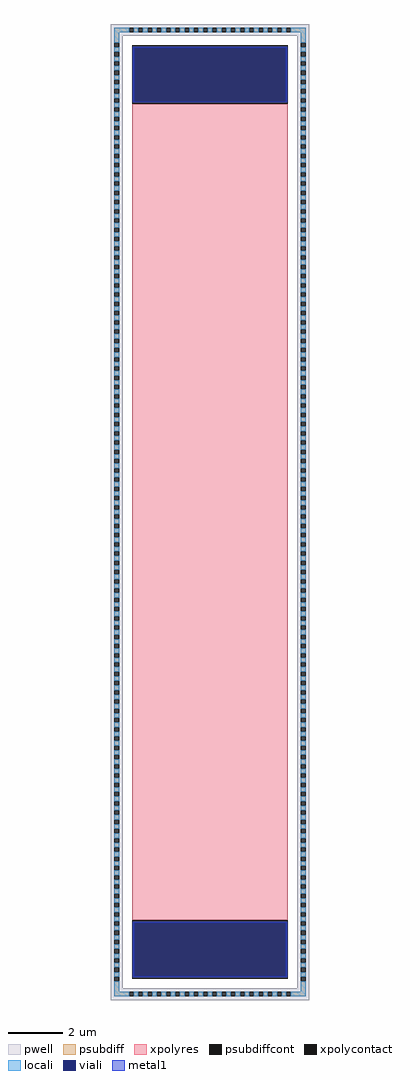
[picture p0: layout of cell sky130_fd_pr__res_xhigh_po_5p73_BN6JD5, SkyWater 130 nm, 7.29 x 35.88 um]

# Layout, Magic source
magic
tech sky130B
magscale 1 2
<< pwell >>
rect -729 3502 729 3588
rect -729 -3502 -643 3502
rect 643 -3502 729 3502
rect -729 -3588 729 -3502
<< psubdiff >>
rect -703 3528 -595 3562
rect -561 3528 -527 3562
rect -493 3528 -459 3562
rect -425 3528 -391 3562
rect -357 3528 -323 3562
rect -289 3528 -255 3562
rect -221 3528 -187 3562
rect -153 3528 -119 3562
rect -85 3528 -51 3562
rect -17 3528 17 3562
rect 51 3528 85 3562
rect 119 3528 153 3562
rect 187 3528 221 3562
rect 255 3528 289 3562
rect 323 3528 357 3562
rect 391 3528 425 3562
rect 459 3528 493 3562
rect 527 3528 561 3562
rect 595 3528 703 3562
rect -703 3451 -669 3528
rect 669 3451 703 3528
rect -703 3383 -669 3417
rect -703 3315 -669 3349
rect -703 3247 -669 3281
rect -703 3179 -669 3213
rect -703 3111 -669 3145
rect -703 3043 -669 3077
rect -703 2975 -669 3009
rect -703 2907 -669 2941
rect -703 2839 -669 2873
rect -703 2771 -669 2805
rect -703 2703 -669 2737
rect -703 2635 -669 2669
rect -703 2567 -669 2601
rect -703 2499 -669 2533
rect -703 2431 -669 2465
rect -703 2363 -669 2397
rect -703 2295 -669 2329
rect -703 2227 -669 2261
rect -703 2159 -669 2193
rect -703 2091 -669 2125
rect -703 2023 -669 2057
rect -703 1955 -669 1989
rect -703 1887 -669 1921
rect -703 1819 -669 1853
rect -703 1751 -669 1785
rect -703 1683 -669 1717
rect -703 1615 -669 1649
rect -703 1547 -669 1581
rect -703 1479 -669 1513
rect -703 1411 -669 1445
rect -703 1343 -669 1377
rect -703 1275 -669 1309
rect -703 1207 -669 1241
rect -703 1139 -669 1173
rect -703 1071 -669 1105
rect -703 1003 -669 1037
rect -703 935 -669 969
rect -703 867 -669 901
rect -703 799 -669 833
rect -703 731 -669 765
rect -703 663 -669 697
rect -703 595 -669 629
rect -703 527 -669 561
rect -703 459 -669 493
rect -703 391 -669 425
rect -703 323 -669 357
rect -703 255 -669 289
rect -703 187 -669 221
rect -703 119 -669 153
rect -703 51 -669 85
rect -703 -17 -669 17
rect -703 -85 -669 -51
rect -703 -153 -669 -119
rect -703 -221 -669 -187
rect -703 -289 -669 -255
rect -703 -357 -669 -323
rect -703 -425 -669 -391
rect -703 -493 -669 -459
rect -703 -561 -669 -527
rect -703 -629 -669 -595
rect -703 -697 -669 -663
rect -703 -765 -669 -731
rect -703 -833 -669 -799
rect -703 -901 -669 -867
rect -703 -969 -669 -935
rect -703 -1037 -669 -1003
rect -703 -1105 -669 -1071
rect -703 -1173 -669 -1139
rect -703 -1241 -669 -1207
rect -703 -1309 -669 -1275
rect -703 -1377 -669 -1343
rect -703 -1445 -669 -1411
rect -703 -1513 -669 -1479
rect -703 -1581 -669 -1547
rect -703 -1649 -669 -1615
rect -703 -1717 -669 -1683
rect -703 -1785 -669 -1751
rect -703 -1853 -669 -1819
rect -703 -1921 -669 -1887
rect -703 -1989 -669 -1955
rect -703 -2057 -669 -2023
rect -703 -2125 -669 -2091
rect -703 -2193 -669 -2159
rect -703 -2261 -669 -2227
rect -703 -2329 -669 -2295
rect -703 -2397 -669 -2363
rect -703 -2465 -669 -2431
rect -703 -2533 -669 -2499
rect -703 -2601 -669 -2567
rect -703 -2669 -669 -2635
rect -703 -2737 -669 -2703
rect -703 -2805 -669 -2771
rect -703 -2873 -669 -2839
rect -703 -2941 -669 -2907
rect -703 -3009 -669 -2975
rect -703 -3077 -669 -3043
rect -703 -3145 -669 -3111
rect -703 -3213 -669 -3179
rect -703 -3281 -669 -3247
rect -703 -3349 -669 -3315
rect -703 -3417 -669 -3383
rect 669 3383 703 3417
rect 669 3315 703 3349
rect 669 3247 703 3281
rect 669 3179 703 3213
rect 669 3111 703 3145
rect 669 3043 703 3077
rect 669 2975 703 3009
rect 669 2907 703 2941
rect 669 2839 703 2873
rect 669 2771 703 2805
rect 669 2703 703 2737
rect 669 2635 703 2669
rect 669 2567 703 2601
rect 669 2499 703 2533
rect 669 2431 703 2465
rect 669 2363 703 2397
rect 669 2295 703 2329
rect 669 2227 703 2261
rect 669 2159 703 2193
rect 669 2091 703 2125
rect 669 2023 703 2057
rect 669 1955 703 1989
rect 669 1887 703 1921
rect 669 1819 703 1853
rect 669 1751 703 1785
rect 669 1683 703 1717
rect 669 1615 703 1649
rect 669 1547 703 1581
rect 669 1479 703 1513
rect 669 1411 703 1445
rect 669 1343 703 1377
rect 669 1275 703 1309
rect 669 1207 703 1241
rect 669 1139 703 1173
rect 669 1071 703 1105
rect 669 1003 703 1037
rect 669 935 703 969
rect 669 867 703 901
rect 669 799 703 833
rect 669 731 703 765
rect 669 663 703 697
rect 669 595 703 629
rect 669 527 703 561
rect 669 459 703 493
rect 669 391 703 425
rect 669 323 703 357
rect 669 255 703 289
rect 669 187 703 221
rect 669 119 703 153
rect 669 51 703 85
rect 669 -17 703 17
rect 669 -85 703 -51
rect 669 -153 703 -119
rect 669 -221 703 -187
rect 669 -289 703 -255
rect 669 -357 703 -323
rect 669 -425 703 -391
rect 669 -493 703 -459
rect 669 -561 703 -527
rect 669 -629 703 -595
rect 669 -697 703 -663
rect 669 -765 703 -731
rect 669 -833 703 -799
rect 669 -901 703 -867
rect 669 -969 703 -935
rect 669 -1037 703 -1003
rect 669 -1105 703 -1071
rect 669 -1173 703 -1139
rect 669 -1241 703 -1207
rect 669 -1309 703 -1275
rect 669 -1377 703 -1343
rect 669 -1445 703 -1411
rect 669 -1513 703 -1479
rect 669 -1581 703 -1547
rect 669 -1649 703 -1615
rect 669 -1717 703 -1683
rect 669 -1785 703 -1751
rect 669 -1853 703 -1819
rect 669 -1921 703 -1887
rect 669 -1989 703 -1955
rect 669 -2057 703 -2023
rect 669 -2125 703 -2091
rect 669 -2193 703 -2159
rect 669 -2261 703 -2227
rect 669 -2329 703 -2295
rect 669 -2397 703 -2363
rect 669 -2465 703 -2431
rect 669 -2533 703 -2499
rect 669 -2601 703 -2567
rect 669 -2669 703 -2635
rect 669 -2737 703 -2703
rect 669 -2805 703 -2771
rect 669 -2873 703 -2839
rect 669 -2941 703 -2907
rect 669 -3009 703 -2975
rect 669 -3077 703 -3043
rect 669 -3145 703 -3111
rect 669 -3213 703 -3179
rect 669 -3281 703 -3247
rect 669 -3349 703 -3315
rect 669 -3417 703 -3383
rect -703 -3528 -669 -3451
rect 669 -3528 703 -3451
rect -703 -3562 -595 -3528
rect -561 -3562 -527 -3528
rect -493 -3562 -459 -3528
rect -425 -3562 -391 -3528
rect -357 -3562 -323 -3528
rect -289 -3562 -255 -3528
rect -221 -3562 -187 -3528
rect -153 -3562 -119 -3528
rect -85 -3562 -51 -3528
rect -17 -3562 17 -3528
rect 51 -3562 85 -3528
rect 119 -3562 153 -3528
rect 187 -3562 221 -3528
rect 255 -3562 289 -3528
rect 323 -3562 357 -3528
rect 391 -3562 425 -3528
rect 459 -3562 493 -3528
rect 527 -3562 561 -3528
rect 595 -3562 703 -3528
<< psubdiffcont >>
rect -595 3528 -561 3562
rect -527 3528 -493 3562
rect -459 3528 -425 3562
rect -391 3528 -357 3562
rect -323 3528 -289 3562
rect -255 3528 -221 3562
rect -187 3528 -153 3562
rect -119 3528 -85 3562
rect -51 3528 -17 3562
rect 17 3528 51 3562
rect 85 3528 119 3562
rect 153 3528 187 3562
rect 221 3528 255 3562
rect 289 3528 323 3562
rect 357 3528 391 3562
rect 425 3528 459 3562
rect 493 3528 527 3562
rect 561 3528 595 3562
rect -703 3417 -669 3451
rect -703 3349 -669 3383
rect -703 3281 -669 3315
rect -703 3213 -669 3247
rect -703 3145 -669 3179
rect -703 3077 -669 3111
rect -703 3009 -669 3043
rect -703 2941 -669 2975
rect -703 2873 -669 2907
rect -703 2805 -669 2839
rect -703 2737 -669 2771
rect -703 2669 -669 2703
rect -703 2601 -669 2635
rect -703 2533 -669 2567
rect -703 2465 -669 2499
rect -703 2397 -669 2431
rect -703 2329 -669 2363
rect -703 2261 -669 2295
rect -703 2193 -669 2227
rect -703 2125 -669 2159
rect -703 2057 -669 2091
rect -703 1989 -669 2023
rect -703 1921 -669 1955
rect -703 1853 -669 1887
rect -703 1785 -669 1819
rect -703 1717 -669 1751
rect -703 1649 -669 1683
rect -703 1581 -669 1615
rect -703 1513 -669 1547
rect -703 1445 -669 1479
rect -703 1377 -669 1411
rect -703 1309 -669 1343
rect -703 1241 -669 1275
rect -703 1173 -669 1207
rect -703 1105 -669 1139
rect -703 1037 -669 1071
rect -703 969 -669 1003
rect -703 901 -669 935
rect -703 833 -669 867
rect -703 765 -669 799
rect -703 697 -669 731
rect -703 629 -669 663
rect -703 561 -669 595
rect -703 493 -669 527
rect -703 425 -669 459
rect -703 357 -669 391
rect -703 289 -669 323
rect -703 221 -669 255
rect -703 153 -669 187
rect -703 85 -669 119
rect -703 17 -669 51
rect -703 -51 -669 -17
rect -703 -119 -669 -85
rect -703 -187 -669 -153
rect -703 -255 -669 -221
rect -703 -323 -669 -289
rect -703 -391 -669 -357
rect -703 -459 -669 -425
rect -703 -527 -669 -493
rect -703 -595 -669 -561
rect -703 -663 -669 -629
rect -703 -731 -669 -697
rect -703 -799 -669 -765
rect -703 -867 -669 -833
rect -703 -935 -669 -901
rect -703 -1003 -669 -969
rect -703 -1071 -669 -1037
rect -703 -1139 -669 -1105
rect -703 -1207 -669 -1173
rect -703 -1275 -669 -1241
rect -703 -1343 -669 -1309
rect -703 -1411 -669 -1377
rect -703 -1479 -669 -1445
rect -703 -1547 -669 -1513
rect -703 -1615 -669 -1581
rect -703 -1683 -669 -1649
rect -703 -1751 -669 -1717
rect -703 -1819 -669 -1785
rect -703 -1887 -669 -1853
rect -703 -1955 -669 -1921
rect -703 -2023 -669 -1989
rect -703 -2091 -669 -2057
rect -703 -2159 -669 -2125
rect -703 -2227 -669 -2193
rect -703 -2295 -669 -2261
rect -703 -2363 -669 -2329
rect -703 -2431 -669 -2397
rect -703 -2499 -669 -2465
rect -703 -2567 -669 -2533
rect -703 -2635 -669 -2601
rect -703 -2703 -669 -2669
rect -703 -2771 -669 -2737
rect -703 -2839 -669 -2805
rect -703 -2907 -669 -2873
rect -703 -2975 -669 -2941
rect -703 -3043 -669 -3009
rect -703 -3111 -669 -3077
rect -703 -3179 -669 -3145
rect -703 -3247 -669 -3213
rect -703 -3315 -669 -3281
rect -703 -3383 -669 -3349
rect -703 -3451 -669 -3417
rect 669 3417 703 3451
rect 669 3349 703 3383
rect 669 3281 703 3315
rect 669 3213 703 3247
rect 669 3145 703 3179
rect 669 3077 703 3111
rect 669 3009 703 3043
rect 669 2941 703 2975
rect 669 2873 703 2907
rect 669 2805 703 2839
rect 669 2737 703 2771
rect 669 2669 703 2703
rect 669 2601 703 2635
rect 669 2533 703 2567
rect 669 2465 703 2499
rect 669 2397 703 2431
rect 669 2329 703 2363
rect 669 2261 703 2295
rect 669 2193 703 2227
rect 669 2125 703 2159
rect 669 2057 703 2091
rect 669 1989 703 2023
rect 669 1921 703 1955
rect 669 1853 703 1887
rect 669 1785 703 1819
rect 669 1717 703 1751
rect 669 1649 703 1683
rect 669 1581 703 1615
rect 669 1513 703 1547
rect 669 1445 703 1479
rect 669 1377 703 1411
rect 669 1309 703 1343
rect 669 1241 703 1275
rect 669 1173 703 1207
rect 669 1105 703 1139
rect 669 1037 703 1071
rect 669 969 703 1003
rect 669 901 703 935
rect 669 833 703 867
rect 669 765 703 799
rect 669 697 703 731
rect 669 629 703 663
rect 669 561 703 595
rect 669 493 703 527
rect 669 425 703 459
rect 669 357 703 391
rect 669 289 703 323
rect 669 221 703 255
rect 669 153 703 187
rect 669 85 703 119
rect 669 17 703 51
rect 669 -51 703 -17
rect 669 -119 703 -85
rect 669 -187 703 -153
rect 669 -255 703 -221
rect 669 -323 703 -289
rect 669 -391 703 -357
rect 669 -459 703 -425
rect 669 -527 703 -493
rect 669 -595 703 -561
rect 669 -663 703 -629
rect 669 -731 703 -697
rect 669 -799 703 -765
rect 669 -867 703 -833
rect 669 -935 703 -901
rect 669 -1003 703 -969
rect 669 -1071 703 -1037
rect 669 -1139 703 -1105
rect 669 -1207 703 -1173
rect 669 -1275 703 -1241
rect 669 -1343 703 -1309
rect 669 -1411 703 -1377
rect 669 -1479 703 -1445
rect 669 -1547 703 -1513
rect 669 -1615 703 -1581
rect 669 -1683 703 -1649
rect 669 -1751 703 -1717
rect 669 -1819 703 -1785
rect 669 -1887 703 -1853
rect 669 -1955 703 -1921
rect 669 -2023 703 -1989
rect 669 -2091 703 -2057
rect 669 -2159 703 -2125
rect 669 -2227 703 -2193
rect 669 -2295 703 -2261
rect 669 -2363 703 -2329
rect 669 -2431 703 -2397
rect 669 -2499 703 -2465
rect 669 -2567 703 -2533
rect 669 -2635 703 -2601
rect 669 -2703 703 -2669
rect 669 -2771 703 -2737
rect 669 -2839 703 -2805
rect 669 -2907 703 -2873
rect 669 -2975 703 -2941
rect 669 -3043 703 -3009
rect 669 -3111 703 -3077
rect 669 -3179 703 -3145
rect 669 -3247 703 -3213
rect 669 -3315 703 -3281
rect 669 -3383 703 -3349
rect 669 -3451 703 -3417
rect -595 -3562 -561 -3528
rect -527 -3562 -493 -3528
rect -459 -3562 -425 -3528
rect -391 -3562 -357 -3528
rect -323 -3562 -289 -3528
rect -255 -3562 -221 -3528
rect -187 -3562 -153 -3528
rect -119 -3562 -85 -3528
rect -51 -3562 -17 -3528
rect 17 -3562 51 -3528
rect 85 -3562 119 -3528
rect 153 -3562 187 -3528
rect 221 -3562 255 -3528
rect 289 -3562 323 -3528
rect 357 -3562 391 -3528
rect 425 -3562 459 -3528
rect 493 -3562 527 -3528
rect 561 -3562 595 -3528
<< xpolycontact >>
rect -573 3000 573 3432
rect -573 -3432 573 -3000
<< xpolyres >>
rect -573 -3000 573 3000
<< locali >>
rect -703 3528 -595 3562
rect -561 3528 -527 3562
rect -493 3528 -459 3562
rect -425 3528 -391 3562
rect -357 3528 -323 3562
rect -289 3528 -255 3562
rect -221 3528 -187 3562
rect -153 3528 -119 3562
rect -85 3528 -51 3562
rect -17 3528 17 3562
rect 51 3528 85 3562
rect 119 3528 153 3562
rect 187 3528 221 3562
rect 255 3528 289 3562
rect 323 3528 357 3562
rect 391 3528 425 3562
rect 459 3528 493 3562
rect 527 3528 561 3562
rect 595 3528 703 3562
rect -703 3451 -669 3528
rect 669 3451 703 3528
rect -703 3383 -669 3417
rect -703 3315 -669 3349
rect -703 3247 -669 3281
rect -703 3179 -669 3213
rect -703 3111 -669 3145
rect -703 3043 -669 3077
rect -703 2975 -669 3009
rect 669 3383 703 3417
rect 669 3315 703 3349
rect 669 3247 703 3281
rect 669 3179 703 3213
rect 669 3111 703 3145
rect 669 3043 703 3077
rect -703 2907 -669 2941
rect -703 2839 -669 2873
rect -703 2771 -669 2805
rect -703 2703 -669 2737
rect -703 2635 -669 2669
rect -703 2567 -669 2601
rect -703 2499 -669 2533
rect -703 2431 -669 2465
rect -703 2363 -669 2397
rect -703 2295 -669 2329
rect -703 2227 -669 2261
rect -703 2159 -669 2193
rect -703 2091 -669 2125
rect -703 2023 -669 2057
rect -703 1955 -669 1989
rect -703 1887 -669 1921
rect -703 1819 -669 1853
rect -703 1751 -669 1785
rect -703 1683 -669 1717
rect -703 1615 -669 1649
rect -703 1547 -669 1581
rect -703 1479 -669 1513
rect -703 1411 -669 1445
rect -703 1343 -669 1377
rect -703 1275 -669 1309
rect -703 1207 -669 1241
rect -703 1139 -669 1173
rect -703 1071 -669 1105
rect -703 1003 -669 1037
rect -703 935 -669 969
rect -703 867 -669 901
rect -703 799 -669 833
rect -703 731 -669 765
rect -703 663 -669 697
rect -703 595 -669 629
rect -703 527 -669 561
rect -703 459 -669 493
rect -703 391 -669 425
rect -703 323 -669 357
rect -703 255 -669 289
rect -703 187 -669 221
rect -703 119 -669 153
rect -703 51 -669 85
rect -703 -17 -669 17
rect -703 -85 -669 -51
rect -703 -153 -669 -119
rect -703 -221 -669 -187
rect -703 -289 -669 -255
rect -703 -357 -669 -323
rect -703 -425 -669 -391
rect -703 -493 -669 -459
rect -703 -561 -669 -527
rect -703 -629 -669 -595
rect -703 -697 -669 -663
rect -703 -765 -669 -731
rect -703 -833 -669 -799
rect -703 -901 -669 -867
rect -703 -969 -669 -935
rect -703 -1037 -669 -1003
rect -703 -1105 -669 -1071
rect -703 -1173 -669 -1139
rect -703 -1241 -669 -1207
rect -703 -1309 -669 -1275
rect -703 -1377 -669 -1343
rect -703 -1445 -669 -1411
rect -703 -1513 -669 -1479
rect -703 -1581 -669 -1547
rect -703 -1649 -669 -1615
rect -703 -1717 -669 -1683
rect -703 -1785 -669 -1751
rect -703 -1853 -669 -1819
rect -703 -1921 -669 -1887
rect -703 -1989 -669 -1955
rect -703 -2057 -669 -2023
rect -703 -2125 -669 -2091
rect -703 -2193 -669 -2159
rect -703 -2261 -669 -2227
rect -703 -2329 -669 -2295
rect -703 -2397 -669 -2363
rect -703 -2465 -669 -2431
rect -703 -2533 -669 -2499
rect -703 -2601 -669 -2567
rect -703 -2669 -669 -2635
rect -703 -2737 -669 -2703
rect -703 -2805 -669 -2771
rect -703 -2873 -669 -2839
rect -703 -2941 -669 -2907
rect -703 -3009 -669 -2975
rect 669 2975 703 3009
rect 669 2907 703 2941
rect 669 2839 703 2873
rect 669 2771 703 2805
rect 669 2703 703 2737
rect 669 2635 703 2669
rect 669 2567 703 2601
rect 669 2499 703 2533
rect 669 2431 703 2465
rect 669 2363 703 2397
rect 669 2295 703 2329
rect 669 2227 703 2261
rect 669 2159 703 2193
rect 669 2091 703 2125
rect 669 2023 703 2057
rect 669 1955 703 1989
rect 669 1887 703 1921
rect 669 1819 703 1853
rect 669 1751 703 1785
rect 669 1683 703 1717
rect 669 1615 703 1649
rect 669 1547 703 1581
rect 669 1479 703 1513
rect 669 1411 703 1445
rect 669 1343 703 1377
rect 669 1275 703 1309
rect 669 1207 703 1241
rect 669 1139 703 1173
rect 669 1071 703 1105
rect 669 1003 703 1037
rect 669 935 703 969
rect 669 867 703 901
rect 669 799 703 833
rect 669 731 703 765
rect 669 663 703 697
rect 669 595 703 629
rect 669 527 703 561
rect 669 459 703 493
rect 669 391 703 425
rect 669 323 703 357
rect 669 255 703 289
rect 669 187 703 221
rect 669 119 703 153
rect 669 51 703 85
rect 669 -17 703 17
rect 669 -85 703 -51
rect 669 -153 703 -119
rect 669 -221 703 -187
rect 669 -289 703 -255
rect 669 -357 703 -323
rect 669 -425 703 -391
rect 669 -493 703 -459
rect 669 -561 703 -527
rect 669 -629 703 -595
rect 669 -697 703 -663
rect 669 -765 703 -731
rect 669 -833 703 -799
rect 669 -901 703 -867
rect 669 -969 703 -935
rect 669 -1037 703 -1003
rect 669 -1105 703 -1071
rect 669 -1173 703 -1139
rect 669 -1241 703 -1207
rect 669 -1309 703 -1275
rect 669 -1377 703 -1343
rect 669 -1445 703 -1411
rect 669 -1513 703 -1479
rect 669 -1581 703 -1547
rect 669 -1649 703 -1615
rect 669 -1717 703 -1683
rect 669 -1785 703 -1751
rect 669 -1853 703 -1819
rect 669 -1921 703 -1887
rect 669 -1989 703 -1955
rect 669 -2057 703 -2023
rect 669 -2125 703 -2091
rect 669 -2193 703 -2159
rect 669 -2261 703 -2227
rect 669 -2329 703 -2295
rect 669 -2397 703 -2363
rect 669 -2465 703 -2431
rect 669 -2533 703 -2499
rect 669 -2601 703 -2567
rect 669 -2669 703 -2635
rect 669 -2737 703 -2703
rect 669 -2805 703 -2771
rect 669 -2873 703 -2839
rect 669 -2941 703 -2907
rect -703 -3077 -669 -3043
rect -703 -3145 -669 -3111
rect -703 -3213 -669 -3179
rect -703 -3281 -669 -3247
rect -703 -3349 -669 -3315
rect -703 -3417 -669 -3383
rect 669 -3009 703 -2975
rect 669 -3077 703 -3043
rect 669 -3145 703 -3111
rect 669 -3213 703 -3179
rect 669 -3281 703 -3247
rect 669 -3349 703 -3315
rect 669 -3417 703 -3383
rect -703 -3528 -669 -3451
rect 669 -3528 703 -3451
rect -703 -3562 -595 -3528
rect -561 -3562 -527 -3528
rect -493 -3562 -459 -3528
rect -425 -3562 -391 -3528
rect -357 -3562 -323 -3528
rect -289 -3562 -255 -3528
rect -221 -3562 -187 -3528
rect -153 -3562 -119 -3528
rect -85 -3562 -51 -3528
rect -17 -3562 17 -3528
rect 51 -3562 85 -3528
rect 119 -3562 153 -3528
rect 187 -3562 221 -3528
rect 255 -3562 289 -3528
rect 323 -3562 357 -3528
rect 391 -3562 425 -3528
rect 459 -3562 493 -3528
rect 527 -3562 561 -3528
rect 595 -3562 703 -3528
<< viali >>
rect -557 3018 557 3412
rect -557 -3413 557 -3019
<< metal1 >>
rect -569 3412 569 3420
rect -569 3018 -557 3412
rect 557 3018 569 3412
rect -569 3011 569 3018
rect -569 -3019 569 -3011
rect -569 -3413 -557 -3019
rect 557 -3413 569 -3019
rect -569 -3420 569 -3413
<< properties >>
string FIXED_BBOX -686 -3545 686 3545
<< end >>
